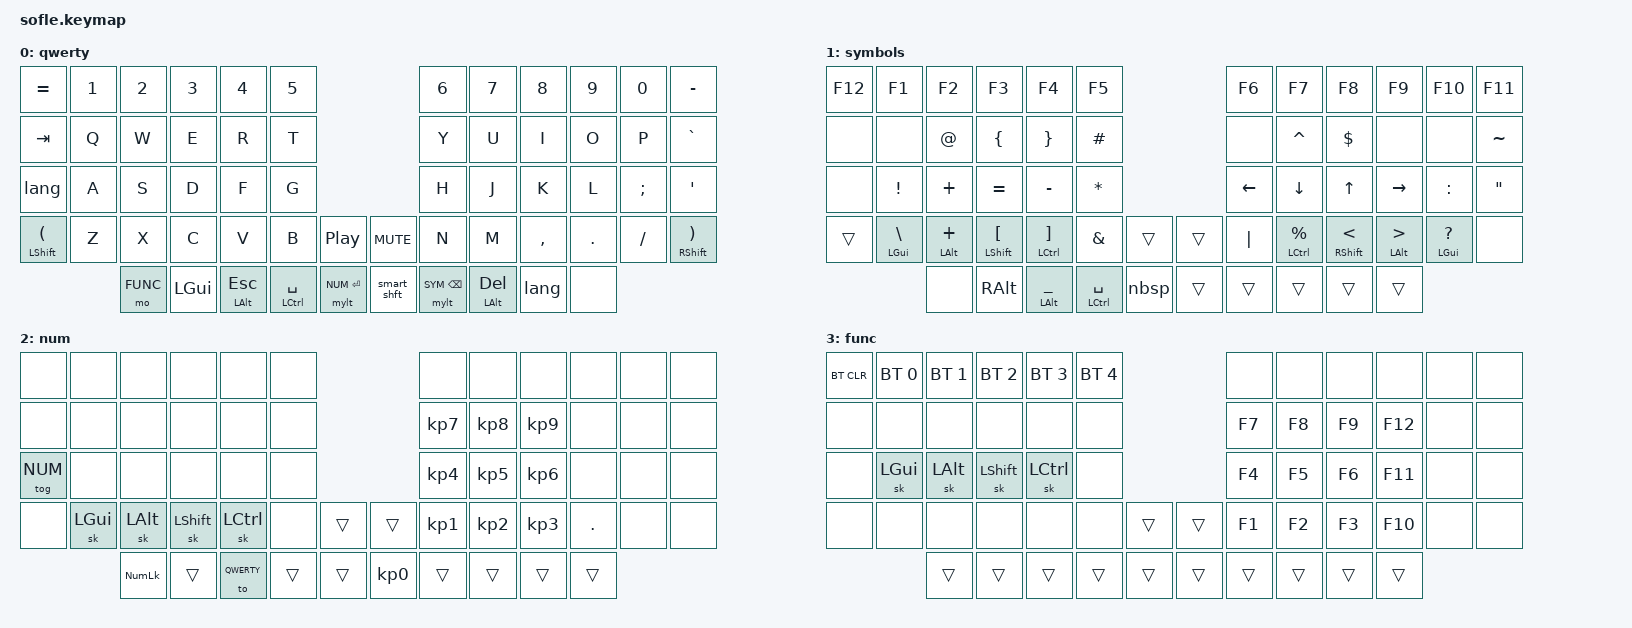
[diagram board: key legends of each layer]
#include <behaviors.dtsi>
#include <dt-bindings/zmk/keys.h>
#include <dt-bindings/zmk/bt.h>

#include "zmk-helpers/helper.h"
#include "zmk-helpers/key-labels/sofle.h"
#include "zmk-helpers/unicode-chars/russian.dtsi"

#define CONFIG_ZMK_COMBO_MAX_COMBOS_PER_KEY 15

#define ___ &trans
#define XXX &none

// OS
#define WINDOWS 0
#define LINUX 1
#define MAC_OS 2

#define HOST_OS LINUX // Needed for unicode international_chars

// Layers
#define QWERTY 0
#define SYM 1
#define NUM 2
#define FUNC 3

// #include "./util/symbols.dtsi"
// #include "./util/my-symbols.dtsi"

//-- Global settings -----------------------------------------------------------

#define QUICK_TAP_MS 175

// Common combos "timeout-ms" — number of milliseconds all keys must be pressed
// within to trigger the combo.
#define COMBO_TERM 75

//-- Combos --------------------------------------------------------------------
//                          KEY POSITIONS
// ╭─────────────────────────╮          ╭─────────────────────────╮
// │ LN5 LN4 LN3 LN2 LN1 LN0 │          │ RN0 RN1 RN2 RN3 RN4 RN5 │
// │ LT5 LT4 LT3 LT2 LT1 LT0 │          │ RT0 RT1 RT2 RT3 RT4 RT5 │
// │ LM5 LM4 LM3 LM2 LM1 LM0 │ LEC  REC │ RM0 RM1 RM2 RM3 RM4 RM5 │
// │ LB5 LB4 LB3 LB2 LB1 LB0 ╰───╮  ╭───╯ RB0 RB1 RB2 RB3 RB4 RB4 │
// ╰───────╮ LH4 LH3 LH2 LH1 LH0 │  │ RH0 RH1 RH2 RH3 RH4 ╭───────╯
//         ╰─────────────────────╯  ╰─────────────────────╯
#define KEYS_L LN0 LN1 LN2 LN3 LN4 LN5 LT0 LT1 LT2 LT3 LT4 LT5 LM0 LM1 LM2 LM3 LM4 LM5 LB0 LB1 LB2 LB3 LB4 LB5  // left hand
#define KEYS_R RN0 RN1 RN2 RN3 RN4 RN5 RT0 RT1 RT2 RT3 RT4 RT5 RM0 RM1 RM2 RM3 RM4 RM5 RB0 RB1 RB2 RB3 RB4 RB5  // right hand
#define THUMBS LH4 LH3 LH2 LH1 LH0 RH0 RH1 RH2 RH3 RH4  // thumbs

ZMK_COMBO(enter_combo, &kp ENTER, RM1 RM2, ALL)

ZMK_COMBO(capsword_combo, &caps_word, LH0 RH0, ALL)

// ZMK_COMBO(ctrl_shift_v_combo, &kp LC(LS(V)), LB1 LB2 LH1, QWERTY, 150)
// ZMK_COMBO(ctrl_shift_t_combo, &kp LC(LS(T)), LH1 LH0 LT0, QWERTY, 400)

ZMK_COMBO(ctrl_shift_tab_combo, &kp LC(LS(TAB)), LM3 LM2, QWERTY, 40)
ZMK_COMBO(ctrl_tab_combo,       &kp LC(TAB),     LM2 LM1, QWERTY, 40)

ZMK_COMBO(parens_combo,   &parens_pair,   LM2 LM1, SYM)
ZMK_COMBO(braces_combo,   &braces_pair,   LT2 LT1, SYM)
ZMK_COMBO(brackets_combo, &brackets_pair, LB2 LB1, SYM)

ZMK_MACRO(ctrl_shift_macro,
          bindings = <&macro_press &kp LCTRL &kp LSHFT>,
                     <&macro_pause_for_release>,
                     <&macro_release &kp LCTRL &kp LSHFT>;)
ZMK_COMBO(cltr_shift_combo, &ctrl_shift_macro, LH1 LH0, ALL)

//------------------------------------------------------------------------------
// Symbols
ZMK_MACRO(em_dash, bindings = <&macro_tap &kp RALT &kp MINUS &kp MINUS &kp MINUS>;)
ZMK_MACRO(nbsp, bindings = <&macro_tap &kp RALT &kp SPACE &kp SPACE>;)

//------------------------------------------------------------------------------
ZMK_MACRO(lang, bindings = <&macro_press &kp LGUI>,
                           <&macro_tap &kp SPACE>,
                           <&macro_release &kp LGUI>;)

// Tap ()/{}/[]/<> to print open-close brackets and place caret between
ZMK_MACRO(parens_pair,   bindings = <&kp LPAR &kp RPAR &kp LEFT>;)
ZMK_MACRO(braces_pair,   bindings = <&kp LBRC &kp RBRC &kp LEFT>;)
ZMK_MACRO(brackets_pair, bindings = <&kp LBKT &kp RBKT &kp LEFT>;)
ZMK_MACRO(angular_pair,  bindings = <&kp LT &kp GT &kp LEFT>;)

// ←/→ workspace
ZMK_MACRO(wsp_left,  bindings = <&kp LG(LA(LEFT))>;)
ZMK_MACRO(wsp_right, bindings = <&kp LG(LA(RIGHT))>;)

// ←/→ tab
ZMK_MACRO(next_tab, bindings = <&kp LC(TAB)>;)
ZMK_MACRO(prev_tab, bindings = <&kp LC(LS(TAB))>;)

// forward / backward (in file manager, history in browser, etc)
ZMK_MACRO(forward,  bindings = <&kp LA(RIGHT)>;)
ZMK_MACRO(backward, bindings = <&kp LA(LEFT)>;)

// Select word, with cursor somewhere in between
ZMK_MACRO(select_word,
          bindings = <&macro_press &kp LCTRL>,
                     <&macro_tap &kp LEFT>,
                     <&macro_press &kp LSHIFT>,
                     <&macro_tap &kp RIGHT>,
                     <&macro_release &kp LSHIFT &kp LCTRL>;)

// Delete word, with cursor somewhere in between
ZMK_MACRO(delete_word, bindings = <&select_word &kp BACKSPACE>;)

&sk {  // sticky-key config
    release-after-ms = <900>;  // release after 0.6s
    quick-release;             // no double capitalization when rolling keys
};

// tap: space | shift + tap: dot -> space -> sticky shift | hold: activate layer
ZMK_HOLD_TAP(mt_spc,
    flavor = "balanced";
    tapping-term-ms = <200>;
    quick-tap-ms = <QUICK_TAP_MS>;
    bindings = <&kp>, <&spc_morph>;
)
ZMK_MACRO(dot_space,
          wait-ms = <5>;
          tap-ms = <5>;
          bindings = <&kp DOT &kp SPACE &sk LSHFT>;)
ZMK_MOD_MORPH(spc_morph,
              mods = <(MOD_LSFT|MOD_RSFT)>;
              bindings = <&kp SPACE>, <&dot_space>;)

// left-hand homerow modifiers
ZMK_HOLD_TAP(hml,
    flavor = "balanced";
    // Produces tap if held longer than tapping-term-ms
    tapping-term-ms = <280>;
    // A quick tap+hold holds tap key pressed.
    quick-tap-ms = <QUICK_TAP_MS>;
    // Consider activating hold behavior only if key was pressed in more
    // than this amound of time after previous.
    require-prior-idle-ms = <150>;
    bindings = <&kp>, <&kp>;
    hold-trigger-key-positions = <KEYS_R THUMBS>;
    // Delay positional check until key-release
    hold-trigger-on-release;
)

// right-hand homerow modifiers
ZMK_HOLD_TAP(hmr,
    flavor = "balanced";
    // Produces tap if held longer than tapping-term-ms
    tapping-term-ms = <280>;
    // A quick tap+hold holds tap key pressed.
    quick-tap-ms = <QUICK_TAP_MS>;
    // Consider activating hold behavior only if key was pressed in more
    // than this amound of time after previous.
    require-prior-idle-ms = <150>;
    bindings = <&kp>, <&kp>;
    hold-trigger-key-positions = <KEYS_L THUMBS>;
    // Delay positional check until key-release
    hold-trigger-on-release;
)

// Left homerow modifiers for navigation layer
ZMK_HOLD_TAP(lnav,
    flavor = "balanced";
    // Produces tap if held longer than tapping-term-ms
    tapping-term-ms = <280>;
    // A quick tap+hold holds tap key pressed.
    quick-tap-ms = <QUICK_TAP_MS>;
    // Consider activating hold behavior only if key was pressed in more
    // than this amound of time after previous.
    require-prior-idle-ms = <120>;
    bindings = <&mo>, <&kp>;
    hold-trigger-key-positions = <LB1 LB2 LB3 LB4 KEYS_R THUMBS>;
)

// layer-tap
ZMK_HOLD_TAP(mylt,
    flavor = "hold-preferred";
    tapping-term-ms = <170>;
    quick-tap-ms = <175>;
    bindings = <&mo>, <&kp>;
)

// tap: sticky-shift | shift + tap/ double-tap: caps-word | hold: shift
ZMK_MOD_MORPH(smart_shft,
    bindings = <&sk LSHFT>, <&caps_word>;
    mods = <(MOD_LSFT)>;
)
// &caps_word {  // mods deactivate caps-word, requires PR #1451
//     /delete-property/ ignore-modifiers;
// };

// hold: &kp | tap: &caps_word
ZMK_HOLD_TAP(cw_kp,
    flavor = "hold-preferred";
    tapping-term-ms = <170>;
    hold-while-undecided;
    bindings = <&kp>, <&caps_word>;
)

// hold: &mo | tap: &caps_word
ZMK_HOLD_TAP(mo_cw,
    flavor = "balanced";
    tapping-term-ms = <170>;
    bindings = <&mo>, <&caps_word>;
)
// hold: &mo | tap: sticky-key
ZMK_HOLD_TAP(mo_sk,
    flavor = "balanced";
    tapping-term-ms = <170>;
    bindings = <&mo>, <&sk>;
)

// layer-hold | layer-toggle
ZMK_HOLD_TAP(motog,
    flavor = "hold-preferred";
    tapping-term-ms = <170>;
    bindings = <&mo>, <&tog>;
)

ZMK_HOLD_TAP(mo_lang,
    flavor = "balanced";
    tapping-term-ms = <170>;
    bindings = <&mo>, <&lang>;
)

// sticky modifier: sticky key on press, normal key on hold
ZMK_HOLD_TAP(sticky_key_press_kp_hold,
    flavor = "hold-preferred";
    tapping-term-ms = <170>;
    hold-while-undecided-linger;
    bindings = <&kp>, <&sk>;
)

#define SK(key) &sticky_key_press_kp_hold key key

ZMK_HOLD_TAP(nbsp_mod,
    flavor = "hold-preferred";
    tapping-term-ms = <170>;
    quick-tap-ms = <175>;
    bindings = <&kp>, <&nbsp>;
)


//-- Layers --------------------------------------------------------------------

//  t: tap, h: hold
// ╭─────────┬─────────┬─────────┬─────────┬──────────┬──────────╮                              ╭─────────┬──────────┬─────────┬─────────┬─────────┬─────────╮
// │    =    │    1    │    2    │    3    │    4     │    5     │                              │    6    │    7     │    8    │    9    │    0    │    -    │
// ├─────────┼─────────┼─────────┼─────────┼──────────┼──────────┤                              ├─────────┼──────────┼─────────┼─────────┼─────────┼─────────┤
// │   TAB   │    Q    │    W    │    E    │    R     │    T     │                              │    Y    │    U     │    I    │    O    │    P    │   ` ~   │
// ├─────────┼─────────┼─────────┼─────────┼──────────┼──────────┤                              ├─────────┼──────────┼─────────┼─────────┼─────────┼─────────┤
// │  LANG   │    A    │    S    │    D    │    F     │    G     │                              │    H    │    J     │    K    │    L    │   ; :   │   ' "   │
// ├─────────┼─────────┼─────────┼─────────┼──────────┼──────────┤                              ├─────────┼──────────┼─────────┼─────────┼─────────┼─────────┤
// │ Shift ( │    Z    │    X    │    C    │    V     │    B     │     >││             mute     │    N    │    M     │   , <   │   . >   │   / ?   │ Shift ) │
// ╰─────────┴─────────┴─────────┴─────────┴──────────┴──────────╯                              ╰─────────┴──────────┴─────────┴─────────┴─────────┴─────────╯
//                     ╭─────────┬─────────┬──────────┬──────────┬─────────────╮  ╭─────────────┬─────────┬──────────┬─────────┬─────────╮
//                     │         │   Win   │ t: Esc   │ t: Space │ t: Enter    │  │ t: Sk-Shift │ t: Bscp │ t: Del   │  LANG   │         │
//                     │ h: FUNC │         │ h: Alt   │ h: Ctrl  │ h: NUM      │  │ h: Shift    │ h: SYM  │ h: Alt   │         │         │
//                     ╰─────────┴─────────┴──────────┴──────────┴─────────────╯  ╰─────────────┴─────────┴──────────┴─────────┴─────────╯
ZMK_LAYER(qwerty,
//╭────────────────┬──────────┬──────────┬──────────┬──────────────┬─────────────────╮                                 ╭────────────────┬──────────────┬───────────┬─────────┬──────────┬────────────────╮
    &kp EQUAL        &kp N1     &kp N2     &kp N3     &kp N4         &kp N5                                              &kp N6           &kp N7         &kp N8      &kp N9    &kp N0     &kp MINUS
//├────────────────┼──────────┼──────────┼──────────┼──────────────┼─────────────────┤                                 ├────────────────┼──────────────┼───────────┼─────────┼──────────┼────────────────┤
    &kp TAB          &kp Q      &kp W      &kp E      &kp R          &kp T                                               &kp Y            &kp U          &kp I       &kp O     &kp P      &kp GRAVE
//├────────────────┼──────────┼──────────┼──────────┼──────────────┼─────────────────┤                                 ├────────────────┼──────────────┼───────────┼─────────┼──────────┼────────────────┤
    &lang            &kp A      &kp S      &kp D      &kp F          &kp G                                               &kp H            &kp J          &kp K       &kp L     &kp SEMI   &kp SQT
//├────────────────┼──────────┼──────────┼──────────┼──────────────┼─────────────────┤                                 ├────────────────┼──────────────┼───────────┼─────────┼──────────┼────────────────┤
    &mt LSHFT LPAR   &kp Z      &kp X      &kp C      &kp V          &kp B             &kp C_PLAY_PAUSE    &kp C_MUTE    &kp N            &kp M          &kp COMMA   &kp DOT   &kp FSLH   &mt RSHFT RPAR
//╰────────────────┴──────────┴──────────┴──────────┴──────────────┴─────────────────╯                                 ╰────────────────┴──────────────┴───────────┴─────────┴──────────┴────────────────╯
//                            ╭──────────┬──────────┬──────────────┬─────────────────┬─────────────────╮ ╭─────────────┬────────────────┬──────────────┬───────────┬─────────╮
                                &mo FUNC   &kp LGUI   &mt LALT ESC   &mt LCTRL SPACE   &mylt NUM ENTER     &smart_shft   &mylt SYM BSPC   &mt LALT DEL   &lang       XXX
//                            ╰──────────┴──────────┴──────────────┴─────────────────┴─────────────────╯ ╰─────────────┴────────────────┴──────────────┴───────────┴─────────╯
    , /* sensor */ &inc_dec_kp LEFT RIGHT &inc_dec_kp C_VOLUME_DOWN C_VOLUME_UP
)

//╭───────┬───────┬───────┬───────┬───────┬───────╮                  ╭───────┬───────┬───────┬───────┬───────┬───────╮
//│  F12  │  F1   │  F2   │  F3   │  F4   │  F5   │                  │  F6   │  F7   │  F8   │  F9   │  F10  │  F11  │
//├───────┼───────┼───────┼───────┼───────┼───────┤                  ├───────┼───────┼───────┼───────┼───────┼───────┤
//│       │       │   @   │   {   │   }   │   #   │                  │       │   ^   │   $   │       │       │   ~   │
//├───────┼───────┼───────┼───────┼───────┼───────┤                  ├───────┼───────┼───────┼───────┼───────┼───────┤
//│       │   !   │   +   │   =   │   -   │   *   │                  │   ←   │   ↓   │   ↑   │   →   │   :   │   "   │
//├───────┼───────┼───────┼───────┼───────┼───────┤                  ├───────┼───────┼───────┼───────┼───────┼───────┤
//│       │   \   │       │   [   │   ]   │   &   │                  │   |   │   %   │   <   │   >   │   ?   │       │
//╰───────┴───────┴───────┴───────┴───────┴───────╯                  ╰───────┴───────┴───────┴───────┴───────┴───────╯
//                ╭───────┬───────┬───────┬───────┬───────╮  ╭───────┬───────┬───────┬───────┬───────╮
//                │       │Compose│   _   │ Space │ NbSpc │  │       │ HOLD  │       │       │       │
//                ╰───────┴───────┴───────┴───────┴───────╯  ╰───────┴───────┴───────┴───────┴───────╯
ZMK_LAYER(symbols,
//╭─────────┬────────────────┬────────────────┬──────────────────┬─────────────────┬─────────────────╮                      ╭───────────┬────────────────────┬─────────────────────┬──────────────────┬─────────────────┬───────────╮
    &kp F12   &kp F1           &kp F2           &kp F3             &kp F4            &kp F5                                   &kp F6      &kp F7               &kp F8                &kp F9             &kp F10           &kp F11
//├─────────┼────────────────┼────────────────┼──────────────────┼─────────────────┼─────────────────┤                      ├───────────┼────────────────────┼─────────────────────┼──────────────────┼─────────────────┼───────────┤
    XXX       XXX              &kp AT           &kp LBRC           &kp RBRC          &kp HASH                                 XXX         &kp CARET            &kp DOLLAR            XXX                XXX               &kp TILDE
//├─────────┼────────────────┼────────────────┼──────────────────┼─────────────────┼─────────────────┤                      ├───────────┼────────────────────┼─────────────────────┼──────────────────┼─────────────────┼───────────┤
    XXX       &kp EXCL         &kp PLUS         &kp EQUAL          &kp MINUS         &kp ASTRK                                &kp LEFT    &kp DOWN             &kp UP                &kp RIGHT          &kp COLON         &kp DQT
//├─────────┼────────────────┼────────────────┼──────────────────┼─────────────────┼─────────────────┤                      ├───────────┼────────────────────┼─────────────────────┼──────────────────┼─────────────────┼───────────┤
    ___       &hml LGUI BSLH   &hml LALT PLUS   &hml LSHIFT LBKT   &hml LCTRL RBKT   &kp AMPS           ___            ___    &kp PIPE    &hmr LCTRL PERCENT   &hmr RSHIFT LT        &hmr LALT GT       &hmr LGUI QMARK   XXX
//╰─────────┴────────────────┴────────────────┴──────────────────┴─────────────────┴─────────────────╯                      ╰───────────┴────────────────────┴─────────────────────┴──────────────────┴─────────────────┴───────────╯
//                           ╭────────────────┬──────────────────┬─────────────────┬─────────────────┬───────────╮  ╭───────┬───────────┬────────────────────┬─────────────────────┬──────────────────╮
                               XXX              &kp RALT           &mt LALT UNDER    &mt LCTRL SPACE    &nbsp          ___    ___         ___                  ___                   ___
//                           ╰────────────────┴──────────────────┴─────────────────┴─────────────────┴───────────╯  ╰───────┴───────────┴────────────────────┴─────────────────────┴──────────────────╯
)

ZMK_LAYER(num,
//╭─────────┬───────┬───────┬───────┬───────┬───────╮                ╭─────┬─────┬─────┬─────┬─────┬─────╮
//│         │       │       │       │       │       │                │     │     │     │     │     │     │
//├─────────┼───────┼───────┼───────┼───────┼───────┤                ├─────┼─────┼─────┼─────┼─────┼─────┤
//│         │       │       │       │       │       │                │  7  │  8  │  9  │     │  *  │     │
//├─────────┼───────┼───────┼───────┼───────┼───────┤                ├─────┼─────┼─────┼─────┼─────┼─────┤
//│         │  Win  │  Alt  │ Shift │ Ctrl  │       │                │  4  │  5  │  6  │     │  +  │     │
//├─────────┼───────┼───────┼───────┼───────┼───────┤                ├─────┼─────┼─────┼─────┼─────┼─────┤
//│         │       │       │       │       │       │                │  1  │  2  │  3  │  .  │  -  │     │
//╰─────────┴───────┴───────┴───────┴───────┴───────╯                ╰─────┴─────┴─────┴─────┴─────┴─────╯
//                  ╭───────┬───────┬───────┬───────┬───────╮  ╭─────┬─────┬─────┬─────┬─────╮
//                  │       │       │ HOLD  │       │       │  │  0  │     │     │     │     │
//                  ╰───────┴───────┴───────┴───────┴───────╯  ╰─────┴─────┴─────┴─────┴─────╯
//╭──────────┬──────────┬──────────┬───────────┬────────────┬───────────╮                    ╭───────────┬───────────┬───────────┬─────────┬────────┬────────╮
    XXX        XXX        XXX        XXX         XXX          XXX                              XXX         XXX         XXX         XXX       XXX      XXX
//├──────────┼──────────┼──────────┼───────────┼────────────┼───────────┤                    ├───────────┼───────────┼───────────┼─────────┼────────┼────────┤
    XXX        XXX        XXX        XXX         XXX          XXX                              &kp KP_N7   &kp KP_N8   &kp KP_N9   XXX       XXX      XXX
//├──────────┼──────────┼──────────┼───────────┼────────────┼───────────┤                    ├───────────┼───────────┼───────────┼─────────┼────────┼────────┤
    &tog NUM   XXX        XXX        XXX         XXX          XXX                              &kp KP_N4   &kp KP_N5   &kp KP_N6   XXX       XXX      XXX
//├──────────┼──────────┼──────────┼───────────┼────────────┼───────────┤                    ├───────────┼───────────┼───────────┼─────────┼────────┼────────┤
    XXX        &sk LGUI   &sk LALT   &sk LSHFT   &sk LCTRL    XXX         ___       ___        &kp KP_N1   &kp KP_N2   &kp KP_N3   &kp DOT   XXX      XXX
//╰──────────┴──────────┴──────────┴───────────┴────────────┴───────────╯                    ╰───────────┴───────────┴───────────┴─────────┴────────┴────────╯
//                      ╭──────────┬───────────┬────────────┬───────────┬─────╮  ╭───────────┬───────────┬───────────┬───────────┬─────────╮
                     &kp KP_NUMLOCK  ___         &to QWERTY   ___         ___      &kp KP_N0   ___         ___         ___         ___
//                      ╰──────────┴───────────┴────────────┴───────────┴─────╯  ╰───────────┴───────────┴───────────┴───────────┴─────────╯
)

ZMK_LAYER(func,
//╭──────────┬─────┬─────┬───────┬──────┬─────╮                  ╭─────┬─────┬─────┬─────┬─────┬─────╮
//│ Clear BT │ BT1 │ BT2 │  BT3  │ BT4  │ BT5 │                  │     │     │     │     │     │     │
//├──────────┼─────┼─────┼───────┼──────┼─────┤                  ├─────┼─────┼─────┼─────┼─────┼─────┤
//│          │     │     │       │      │     │                  │ F7  │ F8  │ F9  │ F12 │     │     │
//├──────────┼─────┼─────┼───────┼──────┼─────┤                  ┼─────┼─────┼─────┼─────┼─────┼─────┤
//│          │ Win │ Alt │ Shift │ Ctrl │     │                  │ F4  │ F5  │ F6  │ F11 │     │     │
//├──────────┼─────┼─────┼───────┼──────┼─────┤                  ┼─────┼─────┼─────┼─────┼─────┼─────┤
//│   HOLD   │     │     │       │      │     │                  │ F1  │ F2  │ F3  │ F10 │     │     │
//╰──────────┴─────┴─────┴───────┴──────┴─────╯                  ╰─────┴─────┴─────┴─────┴─────┴─────╯
//                 ╭─────┬───────┬──────┬─────┬───────╮  ╭───────┬─────┬──────┬─────┬─────╮
//                 │     │       │      │     │       │  │       │     │      │     │     │
//                 ╰─────┴───────┴──────┴─────┴───────╯  ╰───────┴─────┴──────┴─────┴─────╯
//╭────────────┬──────────────┬──────────────┬──────────────┬──────────────┬──────────────╮              ╭─────────┬────────┬────────┬─────────┬─────┬─────╮
    &bt BT_CLR   &bt BT_SEL 0   &bt BT_SEL 1   &bt BT_SEL 2   &bt BT_SEL 3   &bt BT_SEL 4                  XXX       XXX      XXX      XXX       XXX   XXX
//├────────────┼──────────────┼──────────────┼──────────────┼──────────────┼──────────────┤              ├─────────┼────────┼────────┼─────────┼─────┼─────┤
    XXX          XXX            XXX            XXX            XXX            XXX                           &kp F7    &kp F8   &kp F9   &kp F12   XXX   XXX
//├────────────┼──────────────┼──────────────┼──────────────┼──────────────┼──────────────┤              ├─────────┼────────┼────────┼─────────┼─────┼─────┤
    XXX          &sk LGUI       &sk LALT       &sk LSHFT      &sk LCTRL      XXX                           &kp F4    &kp F5   &kp F6   &kp F11   XXX   XXX
//├────────────┼──────────────┼──────────────┼──────────────┼──────────────┼──────────────┤              ├─────────┼────────┼────────┼─────────┼─────┼─────┤
    XXX          XXX            XXX            XXX            XXX            XXX            ___      ___   &kp F1    &kp F2   &kp F3   &kp F10   XXX   XXX
//╰────────────┴──────────────┴──────────────┴──────────────┴──────────────┴──────────────╯              ╰─────────┴────────┴────────┴─────────┴─────┴─────╯
//                            ╭──────────────┬──────────────┬──────────────┬──────────────┬─────╮  ╭─────┬─────────┬────────┬────────┬─────────╮
                                ___            ___            ___            ___            ___      ___   ___       ___      ___      ___
//                            ╰──────────────┴──────────────┴──────────────┴──────────────┴─────╯  ╰─────┴─────────┴────────┴────────┴─────────╯
)


// //                          KEY POSITIONS
// // ╭─────────────────────────╮          ╭─────────────────────────╮
// // │ LN5 LN4 LN3 LN2 LN1 LN0 │          │ RN0 RN1 RN2 RN3 RN4 RN5 │
// // │ LT5 LT4 LT3 LT2 LT1 LT0 │          │ RT0 RT1 RT2 RT3 RT4 RT5 │
// // │ LM5 LM4 LM3 LM2 LM1 LM0 │ LEC  REC │ RM0 RM1 RM2 RM3 RM4 RM5 │
// // │ LB5 LB4 LB3 LB2 LB1 LB0 ╰───╮  ╭───╯ RB0 RB1 RB2 RB3 RB4 RB4 │
// // ╰───────╮ LH4 LH3 LH2 LH1 LH0 │  │ RH0 RH1 RH2 RH3 RH4 ╭───────╯
// //         ╰─────────────────────╯  ╰─────────────────────╯
//
// #define FN_COMBO(name, combo_bindings, keypos) \
//     / { \
//         combos { \
//             compatible = "zmk,combos"; \
//             name ## _combo { \
//                 timeout-ms = <500>; \
//                 bindings = <combo_bindings>; \
//                 key-positions = <keypos>; \
//                 layers = <FUNC>; \
//             }; \
//         }; \
//     };
//
// FN_COMBO(f11, &kp F11,  LM4 LM2 LM1)
// FN_COMBO(f12, &kp F12,  LM4 LM3)
// FN_COMBO(f10, &kp F10,  LM4 LM2)
// FN_COMBO(f9,  &kp F9,   LM4 LM1)
//
// FN_COMBO(f3,  &kp F3,   LM2 LM1)
//
// FN_COMBO(f7,  &kp F7,   LM3 LM2 LM1)
// FN_COMBO(f6,  &kp F6,   LM3 LM2)
// FN_COMBO(f5,  &kp F5,   LM3 LM1)
//
// ZMK_LAYER(func,
// //╭─────┬─────┬─────┬─────┬─────┬─────╮                  ╭─────┬──────┬─────┬─────┬─────┬──────╮
// //│     │     │     │     │     │     │                  │     │      │     │     │     │      │
// //├─────┼─────┼─────┼─────┼─────┼─────┤                  ├─────┼──────┼─────┼─────┼─────┼──────┤
// //│     │     │     │     │     │     │                  │     │      │     │     │     │      │
// //├─────┼─────┼─────┼─────┼─────┼─────┤                  ├─────┼──────┼─────┼─────┼─────┼──────┤
// //│     │ F8  │ F4  │ F2  │ F1  │     │                  │     │      │     │     │     │      │
// //├─────┼─────┼─────┼─────┼─────┼─────┤                  ├─────┼──────┼─────┼─────┼─────┼──────┤
// //│     │     │     │     │     │     │                  │     │      │     │     │     │      │
// //╰─────┴─────┴─────┴─────┴─────┴─────╯                  ╰─────┴──────┴─────┴─────┴─────┴──────╯
// //            ╭─────┬─────┬─────┬─────┬───────╮  ╭───────┬─────┬──────┬─────┬─────╮
// //            │     │     │     │     │       │  │       │     │ HOLD │     │     │
// //            ╰─────┴─────┴─────┴─────┴───────╯  ╰───────┴─────┴──────┴─────┴─────╯
// //╭─────┬────────┬────────┬────────┬────────┬─────╮              ╭─────┬─────┬─────┬─────┬─────┬─────╮
//     XXX   XXX      XXX      XXX      XXX      XXX                  XXX   XXX   XXX   XXX   XXX   XXX
// //├─────┼────────┼────────┼────────┼────────┼─────┤              ├─────┼─────┼─────┼─────┼─────┼─────┤
//     XXX   XXX      XXX      XXX      XXX      XXX                  XXX   XXX   XXX   XXX   XXX   XXX
// //├─────┼────────┼────────┼────────┼────────┼─────┤              ├─────┼─────┼─────┼─────┼─────┼─────┤
//     XXX   &kp F8   &kp F4   &kp F2   &kp F1   XXX                  XXX   XXX   XXX   XXX   XXX   XXX
// //├─────┼────────┼────────┼────────┼────────┼─────┤              ├─────┼─────┼─────┼─────┼─────┼─────┤
//     XXX   XXX      XXX      XXX      XXX      XXX   ___      ___   XXX   XXX   XXX   XXX   XXX   XXX
// //╰─────┴────────┴────────┴────────┴────────┴─────╯              ╰─────┴─────┴─────┴─────┴─────┴─────╯
// //               ╭────────┬────────┬────────┬─────┬─────╮  ╭─────┬─────┬─────┬─────┬─────╮
//                    XXX      XXX      XXX      XXX   XXX      XXX   XXX   ___   XXX   XXX
// //               ╰────────┴────────┴────────┴─────┴─────╯  ╰─────┴─────┴─────┴─────┴─────╯
// )
